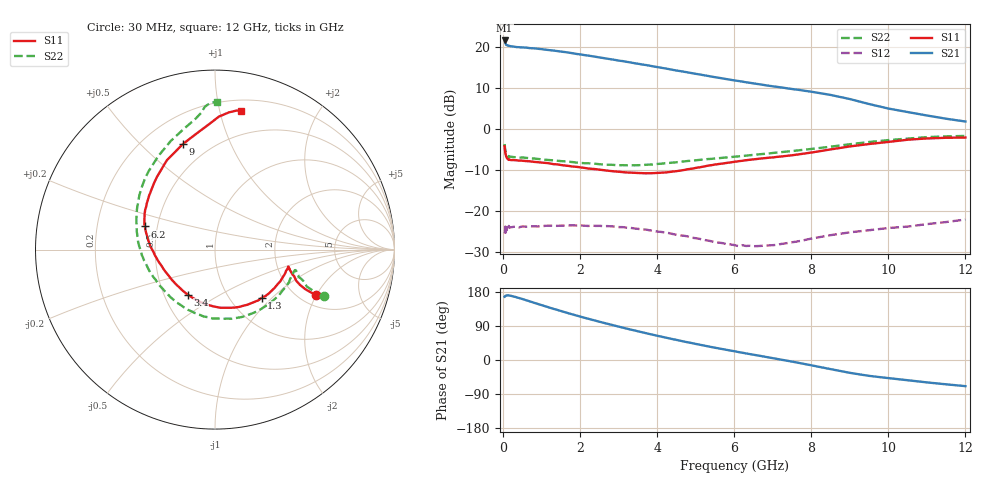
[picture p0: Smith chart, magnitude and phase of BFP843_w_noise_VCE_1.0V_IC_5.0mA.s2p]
! Infineon Technologies  Discrete & RF Semiconductors
! BFP843
! VCE =  1.0 V,  IC =  5.0 mA
! Common Emitter S-Parameters:  Aug 2013
# GHz  S  MA  R  50
!  f  S11  S21  S12  S22
! GHz  MAG  ANG  MAG  ANG  MAG  ANG  MAG  ANG
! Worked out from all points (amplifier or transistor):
!   103 points, 30 MHz to 12 GHz, reference 50 ohm
!   highest |S21| = 21.6 dB at 30 MHz (marker M1)
!   |S21| within 3 dB of that: start of sweep to 1.721 GHz
!   unconditionally stable (mu >= 1): 161.5 MHz to 771.2 MHz; 2.307 GHz to 11.26 GHz
!   at 400 MHz: K = 1.01, MAG = 21.2 dB, |S12| = -23.9 dB
!   at 3.7 GHz: K = 1.19, MAG = 17.4 dB, |S12| = -24.5 dB
!   at 12 GHz: K = 0.89, MSG = 11.9 dB, |S12| = -22.0 dB
!   lowest NFmin = 0.94 dB at 450 MHz
!   S11 on the Smith chart (normalised r, x): 30 MHz: 2.42, -2.00; 1.3 GHz: 1.39, -0.87; 3.4 GHz: 0.66, -0.36; 6.2 GHz: 0.43, +0.13; 9 GHz: 0.36, +0.68; 12 GHz: 0.29, +1.17
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0.03  0.6185 -24.3  11.96 166.9  0.0535 35.4  0.6571 -23.0
0.04  0.5502 -23.7  11.38 167.4  0.0564 26.3  0.5908 -22.7
0.05  0.5139 -22.6  11.04 169.3  0.0651 21.1  0.5511 -21.9
0.07  0.4648 -18.5  10.56 170.1  0.0606 17.0  0.5047 -18.6
0.13  0.4302 -14.4  10.32 170.8  0.064 9.5  0.4617 -14.9
0.3  0.418 -14.2  10.01 166.7  0.0649 4.0  0.455 -16.7
0.8  0.3981 -29.2  9.589 150.9  0.0655 -0.7  0.4379 -35.3
1.3  0.374 -45.9  9.02 135.0  0.0665 -4.5  0.4159 -55.9
1.7  0.3557 -60.0  8.494 123.0  0.0672 -7.5  0.3996 -72.1
2.1  0.3369 -74.1  7.941 111.6  0.0667 -10.9  0.3838 -88.3
2.7  0.3119 -95.6  7.173 95.6  0.066 -16.3  0.368 -111.1
3.4  0.2936 -121.2  6.327 78.1  0.0618 -22.1  0.3621 -136.8
4.1  0.2945 -147.0  5.563 61.6  0.056 -26.7  0.3787 -159.1
4.6  0.3126 -163.9  5.062 50.7  0.0508 -28.7  0.4005 -171.6
5.1  0.3426 -177.6  4.611 40.3  0.0461 -28.6  0.4219 177.7
6.1  0.4056 163.5  3.845 21.1  0.0377 -20.4  0.465 160.4
6.2  0.411 161.7  3.78 19.3  0.0387 -18.6  0.4702 158.7
7.3  0.4687 142.4  3.17 -0.7  0.0405 -4.3  0.5285 141.6
8.5  0.5651 118.4  2.599 -24.1  0.0512 -0.2  0.61 121.1
9  0.6149 106.9  2.316 -33.9  0.0554 -1.5  0.6538 112.1
10.5  0.7415 88.3  1.61 -53.4  0.0651 -5.5  0.7655 95.8
12  0.7878 79.3  1.235 -69.0  0.0793 -12.6  0.8249 89.4
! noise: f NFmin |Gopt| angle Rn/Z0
0.45  0.94  0.18  8  0.01
0.9  0.95  0.19  17  0.03
1.5  0.98  0.18  28  0.1
1.9  1.01  0.16  40  0.18
2.4  1.06  0.14  49  0.26
3.5  1.14  0.11  64  0.3
5.5  1.29  0.13  -156  0.38
10  2.08  0.51  -74  0.44
